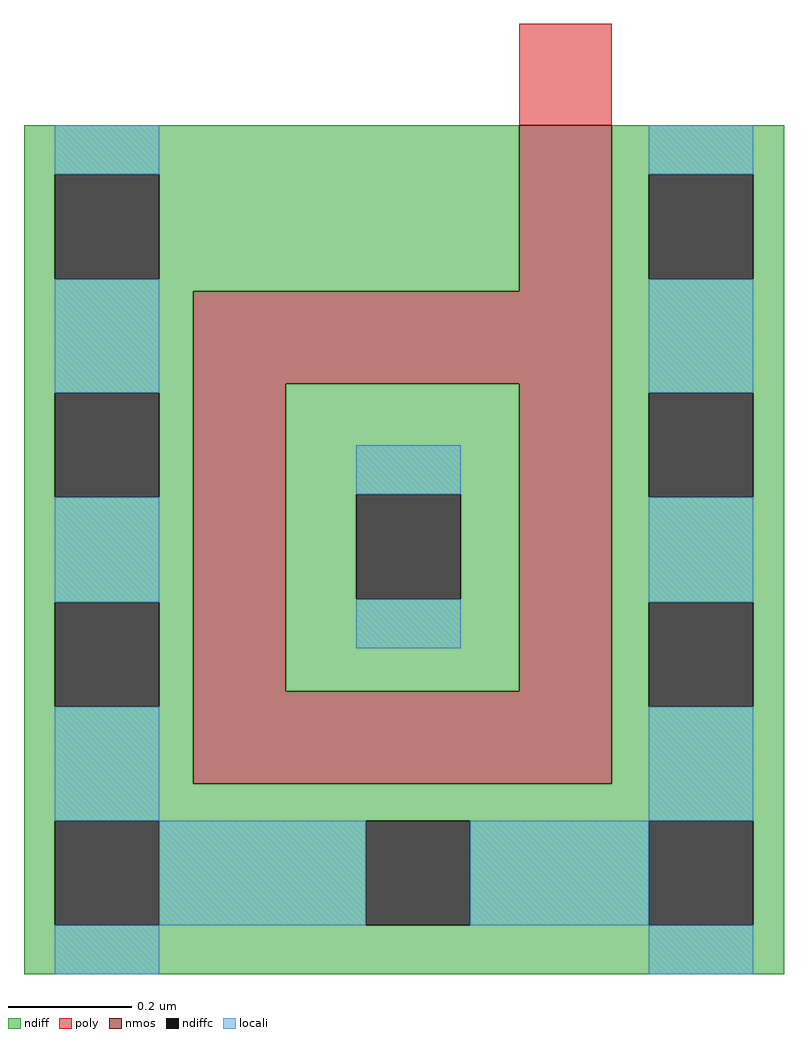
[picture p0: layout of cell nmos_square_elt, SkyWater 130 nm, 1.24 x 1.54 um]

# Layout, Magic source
magic
tech sky130
magscale 1 2
<< nmos >>
rect 160 222 190 276
rect 54 192 190 222
rect 54 92 84 192
rect 160 92 190 192
rect 54 62 190 92
<< ndiff >>
rect -1 260 160 276
rect -1 226 9 260
rect 43 226 160 260
rect -1 222 160 226
rect 190 260 246 276
rect 190 226 202 260
rect 236 226 246 260
rect -1 189 54 222
rect -1 155 9 189
rect 43 155 54 189
rect -1 121 54 155
rect -1 87 9 121
rect 43 87 54 121
rect 84 156 160 192
rect 84 122 107 156
rect 141 122 160 156
rect 84 92 160 122
rect 190 189 246 226
rect 190 155 202 189
rect 236 155 246 189
rect 190 121 246 155
rect -1 62 54 87
rect 190 87 202 121
rect 236 87 246 121
rect 190 62 246 87
rect -1 50 246 62
rect -1 16 9 50
rect 43 16 110 50
rect 144 16 202 50
rect 236 16 246 50
rect -1 0 246 16
<< ndiffc >>
rect 9 226 43 260
rect 202 226 236 260
rect 9 155 43 189
rect 9 87 43 121
rect 107 122 141 156
rect 202 155 236 189
rect 202 87 236 121
rect 9 16 43 50
rect 110 16 144 50
rect 202 16 236 50
<< poly >>
rect 160 276 190 309
<< locali >>
rect 9 260 43 276
rect 9 189 43 226
rect 202 260 236 276
rect 202 189 236 226
rect 9 121 43 155
rect 107 156 141 172
rect 107 106 141 122
rect 202 121 236 155
rect 9 50 43 87
rect 202 50 236 87
rect 43 16 110 50
rect 144 16 202 50
rect 9 0 43 16
rect 202 0 236 16
<< end >>
